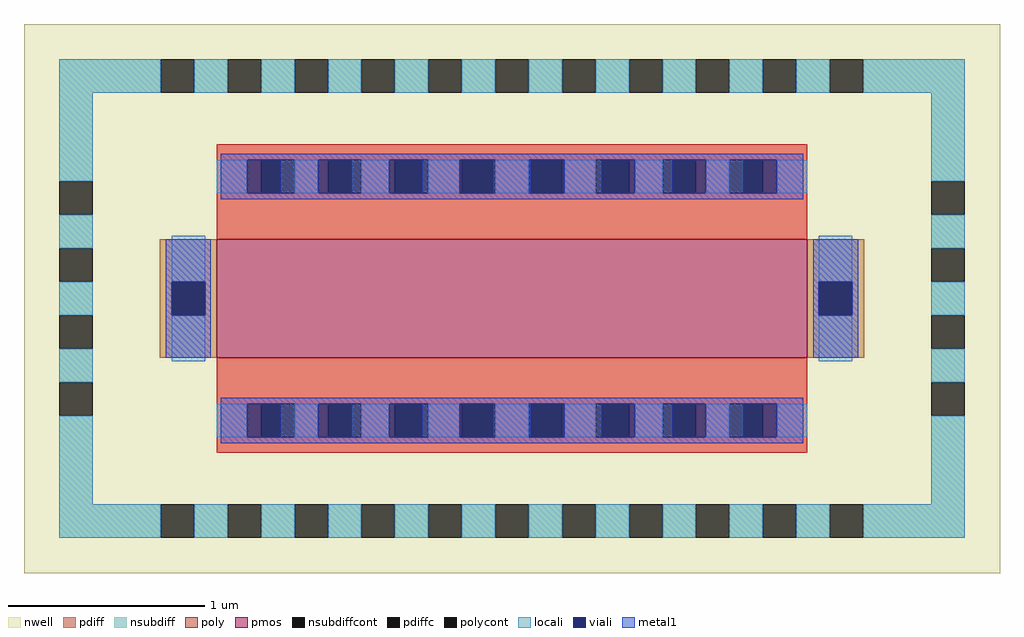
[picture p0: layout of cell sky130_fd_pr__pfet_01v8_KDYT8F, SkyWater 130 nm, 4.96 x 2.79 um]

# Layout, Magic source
magic
tech sky130A
magscale 1 2
<< nwell >>
rect -496 -279 496 279
<< pmos >>
rect -300 -60 300 60
<< pdiff >>
rect -358 17 -300 60
rect -358 -17 -346 17
rect -312 -17 -300 17
rect -358 -60 -300 -17
rect 300 17 358 60
rect 300 -17 312 17
rect 346 -17 358 17
rect 300 -60 358 -17
<< pdiffc >>
rect -346 -17 -312 17
rect 312 -17 346 17
<< nsubdiff >>
rect -460 209 -357 243
rect -323 209 -289 243
rect -255 209 -221 243
rect -187 209 -153 243
rect -119 209 -85 243
rect -51 209 -17 243
rect 17 209 51 243
rect 85 209 119 243
rect 153 209 187 243
rect 221 209 255 243
rect 289 209 323 243
rect 357 209 460 243
rect -460 119 -426 209
rect -460 51 -426 85
rect 426 119 460 209
rect -460 -17 -426 17
rect -460 -85 -426 -51
rect 426 51 460 85
rect 426 -17 460 17
rect -460 -209 -426 -119
rect 426 -85 460 -51
rect 426 -209 460 -119
rect -460 -243 -357 -209
rect -323 -243 -289 -209
rect -255 -243 -221 -209
rect -187 -243 -153 -209
rect -119 -243 -85 -209
rect -51 -243 -17 -209
rect 17 -243 51 -209
rect 85 -243 119 -209
rect 153 -243 187 -209
rect 221 -243 255 -209
rect 289 -243 323 -209
rect 357 -243 460 -209
<< nsubdiffcont >>
rect -357 209 -323 243
rect -289 209 -255 243
rect -221 209 -187 243
rect -153 209 -119 243
rect -85 209 -51 243
rect -17 209 17 243
rect 51 209 85 243
rect 119 209 153 243
rect 187 209 221 243
rect 255 209 289 243
rect 323 209 357 243
rect -460 85 -426 119
rect 426 85 460 119
rect -460 17 -426 51
rect -460 -51 -426 -17
rect 426 17 460 51
rect 426 -51 460 -17
rect -460 -119 -426 -85
rect 426 -119 460 -85
rect -357 -243 -323 -209
rect -289 -243 -255 -209
rect -221 -243 -187 -209
rect -153 -243 -119 -209
rect -85 -243 -51 -209
rect -17 -243 17 -209
rect 51 -243 85 -209
rect 119 -243 153 -209
rect 187 -243 221 -209
rect 255 -243 289 -209
rect 323 -243 357 -209
<< poly >>
rect -300 141 300 157
rect -300 107 -255 141
rect -221 107 -187 141
rect -153 107 -119 141
rect -85 107 -51 141
rect -17 107 17 141
rect 51 107 85 141
rect 119 107 153 141
rect 187 107 221 141
rect 255 107 300 141
rect -300 60 300 107
rect -300 -107 300 -60
rect -300 -141 -255 -107
rect -221 -141 -187 -107
rect -153 -141 -119 -107
rect -85 -141 -51 -107
rect -17 -141 17 -107
rect 51 -141 85 -107
rect 119 -141 153 -107
rect 187 -141 221 -107
rect 255 -141 300 -107
rect -300 -157 300 -141
<< polycont >>
rect -255 107 -221 141
rect -187 107 -153 141
rect -119 107 -85 141
rect -51 107 -17 141
rect 17 107 51 141
rect 85 107 119 141
rect 153 107 187 141
rect 221 107 255 141
rect -255 -141 -221 -107
rect -187 -141 -153 -107
rect -119 -141 -85 -107
rect -51 -141 -17 -107
rect 17 -141 51 -107
rect 85 -141 119 -107
rect 153 -141 187 -107
rect 221 -141 255 -107
<< locali >>
rect -460 209 -357 243
rect -323 209 -289 243
rect -255 209 -221 243
rect -187 209 -153 243
rect -119 209 -85 243
rect -51 209 -17 243
rect 17 209 51 243
rect 85 209 119 243
rect 153 209 187 243
rect 221 209 255 243
rect 289 209 323 243
rect 357 209 460 243
rect -460 119 -426 209
rect -300 107 -269 141
rect -221 107 -197 141
rect -153 107 -125 141
rect -85 107 -53 141
rect -17 107 17 141
rect 53 107 85 141
rect 125 107 153 141
rect 197 107 221 141
rect 269 107 300 141
rect 426 119 460 209
rect -460 51 -426 85
rect -460 -17 -426 17
rect -460 -85 -426 -51
rect -346 17 -312 64
rect -346 -64 -312 -17
rect 312 17 346 64
rect 312 -64 346 -17
rect 426 51 460 85
rect 426 -17 460 17
rect 426 -85 460 -51
rect -460 -209 -426 -119
rect -300 -141 -269 -107
rect -221 -141 -197 -107
rect -153 -141 -125 -107
rect -85 -141 -53 -107
rect -17 -141 17 -107
rect 53 -141 85 -107
rect 125 -141 153 -107
rect 197 -141 221 -107
rect 269 -141 300 -107
rect 426 -209 460 -119
rect -460 -243 -357 -209
rect -323 -243 -289 -209
rect -255 -243 -221 -209
rect -187 -243 -153 -209
rect -119 -243 -85 -209
rect -51 -243 -17 -209
rect 17 -243 51 -209
rect 85 -243 119 -209
rect 153 -243 187 -209
rect 221 -243 255 -209
rect 289 -243 323 -209
rect 357 -243 460 -209
<< viali >>
rect -269 107 -255 141
rect -255 107 -235 141
rect -197 107 -187 141
rect -187 107 -163 141
rect -125 107 -119 141
rect -119 107 -91 141
rect -53 107 -51 141
rect -51 107 -19 141
rect 19 107 51 141
rect 51 107 53 141
rect 91 107 119 141
rect 119 107 125 141
rect 163 107 187 141
rect 187 107 197 141
rect 235 107 255 141
rect 255 107 269 141
rect -346 -17 -312 17
rect 312 -17 346 17
rect -269 -141 -255 -107
rect -255 -141 -235 -107
rect -197 -141 -187 -107
rect -187 -141 -163 -107
rect -125 -141 -119 -107
rect -119 -141 -91 -107
rect -53 -141 -51 -107
rect -51 -141 -19 -107
rect 19 -141 51 -107
rect 51 -141 53 -107
rect 91 -141 119 -107
rect 119 -141 125 -107
rect 163 -141 187 -107
rect 187 -141 197 -107
rect 235 -141 255 -107
rect 255 -141 269 -107
<< metal1 >>
rect -296 141 296 147
rect -296 107 -269 141
rect -235 107 -197 141
rect -163 107 -125 141
rect -91 107 -53 141
rect -19 107 19 141
rect 53 107 91 141
rect 125 107 163 141
rect 197 107 235 141
rect 269 107 296 141
rect -296 101 296 107
rect -352 17 -306 60
rect -352 -17 -346 17
rect -312 -17 -306 17
rect -352 -60 -306 -17
rect 306 17 352 60
rect 306 -17 312 17
rect 346 -17 352 17
rect 306 -60 352 -17
rect -296 -107 296 -101
rect -296 -141 -269 -107
rect -235 -141 -197 -107
rect -163 -141 -125 -107
rect -91 -141 -53 -107
rect -19 -141 19 -107
rect 53 -141 91 -107
rect 125 -141 163 -107
rect 197 -141 235 -107
rect 269 -141 296 -107
rect -296 -147 296 -141
<< properties >>
string FIXED_BBOX -443 -226 443 226
<< end >>
